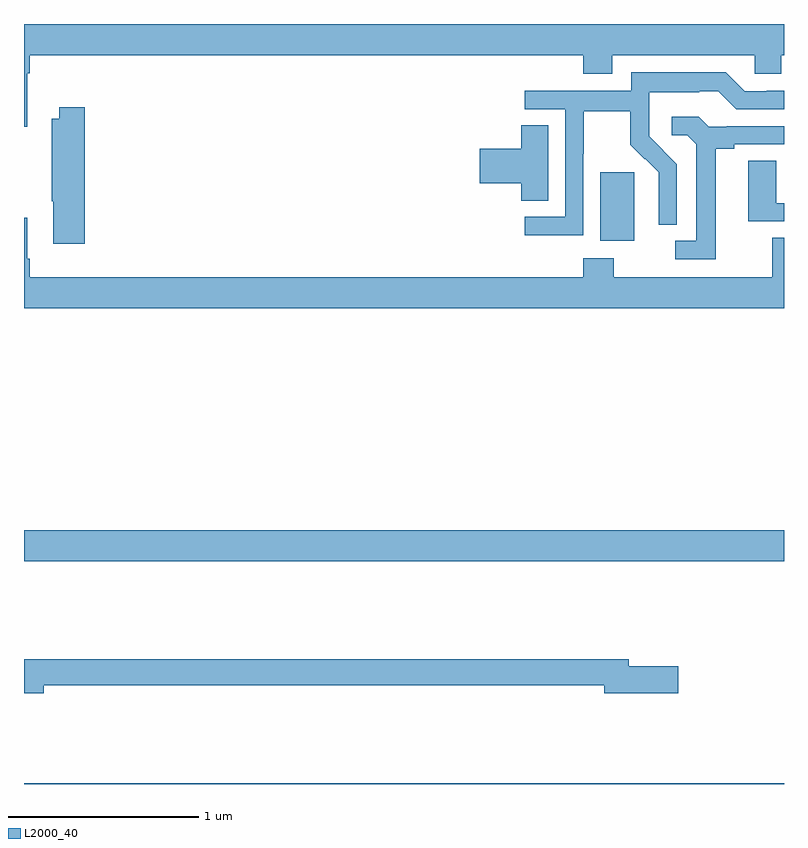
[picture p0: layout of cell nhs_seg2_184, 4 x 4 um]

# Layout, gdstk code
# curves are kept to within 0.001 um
import gdstk
lib = gdstk.Library(unit=1e-6, precision=1e-09)
def R(c, l, rs):  # rectangles x0, y0, x1, y1
    for r in rs: c.add(gdstk.rectangle(r[:2], r[2:], *l))
def P(c, l, *ps):  # polygons
    for p in ps: c.add(gdstk.Polygon(p, *l))
L2000_40 = (2000, 40)

nhs_seg2_184 = lib.new_cell('nhs_seg2_184')
R(nhs_seg2_184, L2000_40, [(119,643.8,123,643.804), (119,644.972,123,645.136), (122.033,646.658,122.212,647.019)])
P(nhs_seg2_184, L2000_40, [(119,647.259),(119.017,647.259),(119.017,647.54),(119.03,647.54),(119.03,647.636),(121.943,647.636),(121.943,647.537),(122.095,647.537),(122.095,647.636),(122.847,647.636),(122.847,647.538),(122.985,647.538),(122.985,647.636),(123,647.636),(123,647.8),(119,647.8)],
  [(121.944,647.116),(121.947,647.116),(121.947,647.34),(122.191,647.34),(122.191,647.165),(122.268,647.088),(122.271,647.091),(122.342,647.021),(122.342,646.898),(122.34,646.898),(122.34,646.744),(122.436,646.744),(122.436,647.062),(122.29,647.21),(122.29,647.307),(122.292,647.307),(122.292,647.441),(122.555,647.441),(122.555,647.445),(122.655,647.445),(122.748,647.352),(123,647.352),(123,647.448),(122.909,647.448),(122.909,647.445),(122.793,647.445),(122.693,647.545),(122.196,647.545),(122.196,647.448),(121.635,647.448),(121.635,647.352),(121.848,647.352),(121.848,646.785),(121.635,646.785),(121.635,646.687),(121.944,646.687)],
  [(119.321,647.362),(119.186,647.362),(119.186,647.302),(119.146,647.302),(119.146,646.867),(119.153,646.867),(119.153,646.644),(119.321,646.644)],
  [(122.641,647.144),(122.737,647.144),(122.737,647.166),(123,647.166),(123,647.262),(122.698,647.262),(122.698,647.259),(122.604,647.259),(122.552,647.311),(122.409,647.311),(122.409,647.214),(122.49,647.214),(122.537,647.167),(122.537,646.659),(122.427,646.659),(122.427,646.563),(122.641,646.563)],
  [(121.759,647.267),(121.616,647.267),(121.616,647.144),(121.398,647.144),(121.398,646.961),(121.616,646.961),(121.616,646.87),(121.759,646.87)],
  [(123,646.857),(122.958,646.857),(122.958,647.081),(122.813,647.081),(122.813,646.761),(123,646.761)],
  [(123,646.676),(122.939,646.676),(122.939,646.468),(122.103,646.468),(122.103,646.567),(121.943,646.567),(121.943,646.468),(119.03,646.468),(119.03,646.564),(119.017,646.564),(119.017,646.78),(119,646.78),(119,646.304),(123,646.304)],
  [(119.104,644.32),(122.054,644.32),(122.054,644.278),(122.443,644.278),(122.443,644.42),(122.182,644.42),(122.182,644.456),(119,644.456),(119,644.278),(119.104,644.278)])

lib.write_gds('nhs_seg2_184.gds')
